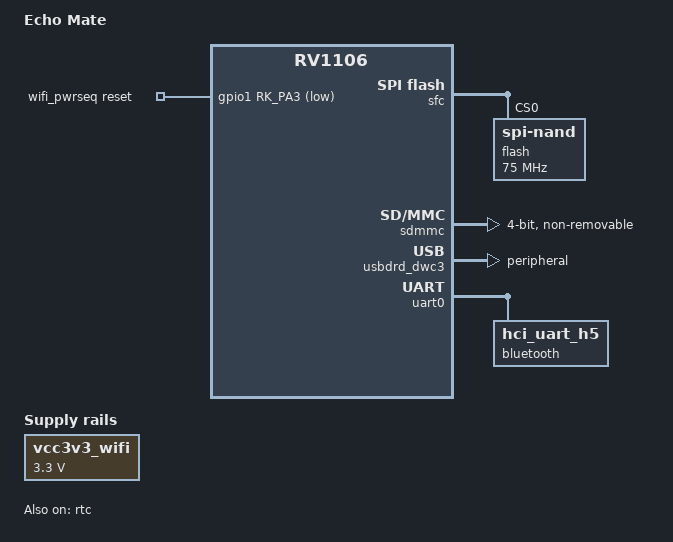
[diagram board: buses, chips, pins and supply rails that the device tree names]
// SPDX-License-Identifier: (GPL-2.0+ OR MIT)
/*
 * Copyright (c) 2022 Rockchip Electronics Co., Ltd.
 */

/dts-v1/;

#include "rv1106.dtsi"
#include "rv1106-evb.dtsi"
#include "rv1106-echo-mate-ipc.dtsi"

/ {
	model = "Echo Mate";
	compatible = "rockchip,rv1103g-38x38-ipc-v10", "rockchip,rv1106";

	/******** WiFi Power ON/Reset sequence (WL_REG_ON = GPIO1A3, active-low) ********/
	wifi_pwrseq: wifi-pwrseq {
    	compatible = "mmc-pwrseq-simple";
    	/* GPIO1A3 = &gpio1 RK_PA3；Active-LOW 表示：低=复位/关，高=运行 */
    	reset-gpios = <&gpio1 RK_PA3 GPIO_ACTIVE_LOW>;
    	post-power-on-delay-ms = <200>;  /* eFUSE autoload & Tnon_rdy 等待 */
    	power-off-delay-us     = <5000>; /* 关电后的最小等待，便于实现两阶段上电 */
		boot-on;

	};

	vcc3v3_wifi: regulator-vcc3v3-wifi {
    	compatible = "regulator-fixed";
    	regulator-name = "vcc3v3_wifi";
    	regulator-min-microvolt = <3300000>;
    	regulator-max-microvolt = <3300000>;
    	regulator-always-on;
};
};

/**********FLASH**********/
&sfc {
	status = "okay";
	flash@0 {
		compatible = "spi-nand";
		reg = <0>;
		spi-max-frequency = <75000000>;
		spi-rx-bus-width = <4>;
		spi-tx-bus-width = <1>;
	};
	
};

/**********SDMMC**********/
&sdmmc {
	status = "disabled";
	max-frequency = <50000000>;
	no-sdio;
	no-mmc;
	bus-width = <4>;
	cap-mmc-highspeed;
	cap-sd-highspeed;
	disable-wp;
	pinctrl-names = "default";
	pinctrl-0 = <&sdmmc0_clk &sdmmc0_cmd &sdmmc0_det &sdmmc0_bus4>;
};

/***********mmc interface for wifi map to sdmmc1 set for sdio mode**********/
&sdmmc {
	status = "okay";
	max-frequency = <50000000>; // 最大运行频率不超过 150Mhz; SDIO2.0 卡最大 50M，SDIO3.0 最大支持 150M
	bus-width = <4>;             // 4线数据模式
	cap-sd-highspeed;            // 此配置同 SD 卡功能，作为 SDIO 外设，也有区分是否为 highspeed 的 SDIO 外设。
	cap-sdio-irq;                // 此配置标识该 SDIO 外设(通常是 Wifi)是否支持 sdio 中断
	keep-power-in-suspend;       // 此配置表示是否支持睡眠不断电，请默认加入该选项。Wifi 一般都有深度唤醒的要求。
	non-removable;               // 此项表示该插槽为不可移动设备且此项为 SDIO 设备必须添加项。
	//sd-uhs-sdr50;         
	no-1-8-v;
	supports-sdio;         // 标识此插槽为 SDIO 功能，为必须添加项。否则无法初始化 SDIO 外设。
	pinctrl-names = "default";
	pinctrl-0 = <&sdmmc1m1_clk &sdmmc1m1_cmd &sdmmc1m1_bus4>; // rv1106-pinctrl.dtsi
    mmc-pwrseq = <&wifi_pwrseq>;
};

/******** WiFi Power ON Sequence control ********/


/**********ETH**********/
&gmac {
	status = "disabled";
};

/**********USB**********/
&usbdrd_dwc3 {
	status = "okay";
	dr_mode = "peripheral";
};

/**********SPI**********/
/* SPI0_M0 */
&spi0 {
	status = "disabled";
	spidev@0 {
		status = "disabled";
		spi-max-frequency = <60000000>;
	};
	fbtft@0 {
		spi-max-frequency = <60000000>;
	};
};

/**********PWM_BL**********/
&pwm9 {
	status = "disabled";
	pinctrl-names = "active";
};



/* I2C1_M1 */
&i2c1 {
	status = "disabled";
	clock-frequency = <100000>;
};


/**********UART**********/
&uart0 {
  status = "okay";
  pinctrl-names = "default";
  pinctrl-0 = <&uart0m1_xfer &uart0m1_rtsn &uart0m1_ctsn>;
  uart-has-rtscts; 
  bluetooth {
        compatible = "hci_uart_h5",
                     "hci_uart",
                     "realtek,rtl8723bs-bt",
                     "realtek,rtl8723ds-bt",
                     "realtek,rtl8723bs";
        max-speed = <115200>;
        status = "okay";
    };
};
/* UART3_M1 */
&uart3 {
	status = "disabled";
};

/* UART4_M1 */
&uart4 {
	status = "disabled";
};

/**********RTC**********/
&rtc {
	status = "okay";
};
